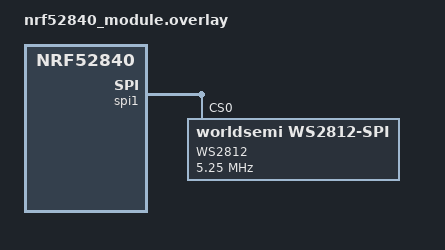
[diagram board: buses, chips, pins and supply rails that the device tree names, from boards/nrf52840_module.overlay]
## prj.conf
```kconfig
# Turn on logging, and set ZMK logging to debug output
CONFIG_LOG=y
CONFIG_ZMK_LOG_LEVEL_DBG=y

# Turn on USB CDC ACM device
CONFIG_USB=y
CONFIG_USB_DEVICE_STACK=y
CONFIG_USB_CDC_ACM=y
CONFIG_USB_CDC_ACM_RINGBUF_SIZE=1024
CONFIG_USB_CDC_ACM_DEVICE_NAME="CDC_ACM"
CONFIG_USB_CDC_ACM_DEVICE_COUNT=1

# Enable serial console
CONFIG_SERIAL=y
CONFIG_CONSOLE=y
CONFIG_UART_INTERRUPT_DRIVEN=y
CONFIG_UART_LINE_CTRL=y

# Enable USB UART, and set the console device
CONFIG_UART_CONSOLE=y
CONFIG_USB_UART_CONSOLE=y
CONFIG_UART_CONSOLE_ON_DEV_NAME="CDC_ACM_0"
CONFIG_USB_UART_DTR_WAIT=n

CONFIG_NFCT_PINS_AS_GPIOS=y
```

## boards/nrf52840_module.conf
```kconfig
CONFIG_SPI=y
CONFIG_SPI_1=y
CONFIG_ZMK_RGB_UNDERGLOW=y
# Use the STRIP config specific to the LEDs you're using
CONFIG_WS2812_STRIP=y
CONFIG_ZMK_RGB_UNDERGLOW_BRT_STEP=2

# rgb start settings
CONFIG_ZMK_RGB_UNDERGLOW_HUE_START=0
CONFIG_ZMK_RGB_UNDERGLOW_SAT_START=100
CONFIG_ZMK_RGB_UNDERGLOW_BRT_START=25
CONFIG_ZMK_RGB_UNDERGLOW_SPD_START=3
CONFIG_ZMK_RGB_UNDERGLOW_EFF_START=0
CONFIG_ZMK_RGB_UNDERGLOW_ON_START=n
```

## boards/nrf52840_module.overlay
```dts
/*
 * Copyright (c) 2018 Nordic Semiconductor ASA
 *
 * SPDX-License-Identifier: Apache-2.0
 */

&spi1 {
	led_strip: ws2812@0 {
    	compatible = "worldsemi,ws2812-spi";
    	label = "WS2812";

    	/* SPI */
    	reg = <0>;
    	spi-max-frequency = <5250000>;

    	/* WS2812 */
    	chain-length = <70>; /* number of LEDs */
    	spi-one-frame = <0x70>; /* make sure to configure this properly for your SOC */
    	spi-zero-frame = <0x40>; /* make sure to configure this properly for your SOC */
  	};
};
```

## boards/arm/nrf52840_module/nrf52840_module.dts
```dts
/*
 * Copyright (c) 2017 Linaro Limited
 *
 * SPDX-License-Identifier: Apache-2.0
 */

/dts-v1/;
#include <nordic/nrf52840_qiaa.dtsi>
#include <dt-bindings/zmk/matrix-transform.h>

/ {
	model = "nRF52840 module by crohloff";
	compatible = "crohloff,nrf52840_module";

	chosen {
		//zephyr,console = &uart0;
		//zephyr,shell-uart = &uart0;
		//zephyr,uart-mcumgr = &uart0;
		//zephyr,bt-mon-uart = &uart0;
		//zephyr,bt-c2h-uart = &uart0;
		zephyr,sram = &sram0;
		zephyr,flash = &flash0;
		zephyr,code-partition = &slot0_partition;
		zmk,underglow = &led_strip;
		zmk,kscan = &kscan0;
    zmk,matrix_transform = &default_transform;
  };

default_transform: keymap_transform_0 {
  compatible = "zmk,matrix-transform";
  columns = <16>;
  rows = <2>;
// | MX1  | MX2  | MX3  | MX4  | MX5  | MX6  | MX7  | MX8  | MX9  | MX10 | MX11 | MX12 | MX13 |    MX14     |
// |   MX15   | MX16 | MX17 | MX18 | MX19 | MX20 | MX21 | MX22 | MX23 | MX34 | MX25 | MX26 | MX27 |  MX28   |
// |    MX29    | MX30 | MX31 | MX32 | MX33 | MX34 | MX35 | MX36 | MX37 | MX38 | MX39 | MX40 |     MX41     |
// |     MX42      | MX43 | MX44 | MX45 | MX46 | MX47 | MX48 | MX49 | MX50 | MX51 | MX52 |       MX53       |
// |  MX54  |  MX55  |  MX56  |                  MX57                   |  MX58  |  MX59  |  MX60  |  MX61  |
  map = <
    RC(0,0) RC(0,1) RC(0,2) RC(0,3) RC(0,4) RC(0,5) RC(0,6) RC(0,7) RC(0,8) RC(0,9) RC(0,10) RC(0,11) RC(0,12) RC(0,13)         RC(0,14) RC(0,15)
    RC(1,0) RC(1,1) RC(1,2) RC(1,3) RC(1,4) RC(1,5) RC(1,6) RC(1,7) RC(1,8) RC(1,9) RC(1,10) RC(1,11) RC(1,12) RC(1,13)         RC(1,14) RC(1,15)
    RC(2,0) RC(2,1) RC(2,2) RC(2,3) RC(2,4) RC(2,5) RC(2,6) RC(2,7) RC(2,8) RC(2,9) RC(2,10) RC(2,11) RC(2,12)
    RC(3,0) RC(3,1) RC(3,2) RC(3,3) RC(3,4) RC(3,5) RC(3,6) RC(3,7) RC(3,8) RC(3,9) RC(3,10) RC(3,11)                           RC(3,12)
    RC(4,0) RC(4,1) RC(4,2) RC(4,3) RC(4,4) RC(4,5) RC(4,6)                                                             RC(4,7) RC(4,8) RC(4,9)
  >;
};

	kscan0: kscan {
		compatible = "zmk,kscan-gpio-matrix";
		label = "KSCAN";
    diode-direction = "row2col";

		row-gpios
			= <&gpio0 24 GPIO_ACTIVE_HIGH> //row0
			, <&gpio0 22 GPIO_ACTIVE_HIGH> //row1
			, <&gpio0 4  GPIO_PUD_PULL_UP> //row2
			, <&gpio1 10 GPIO_PUD_PULL_UP> //row3
			, <&gpio1 0  GPIO_PUD_PULL_UP> //row4
			;
		col-gpios
			= <&gpio0 10 (GPIO_ACTIVE_HIGH | GPIO_PULL_DOWN)> //col0
			, <&gpio0 9  (GPIO_ACTIVE_HIGH | GPIO_PULL_DOWN)> //col1
			, <&gpio0 8  (GPIO_ACTIVE_HIGH | GPIO_PULL_DOWN)> //col2
			, <&gpio0 12 (GPIO_ACTIVE_HIGH | GPIO_PULL_DOWN)> //col3
			, <&gpio0 13 (GPIO_ACTIVE_HIGH | GPIO_PULL_DOWN)> //col4
			, <&gpio0 15 (GPIO_ACTIVE_HIGH | GPIO_PULL_DOWN)> //col5
      , <&gpio0 26 (GPIO_ACTIVE_HIGH | GPIO_PULL_DOWN)> //col6
      , <&gpio1 6  (GPIO_ACTIVE_HIGH | GPIO_PULL_DOWN)> //col7
      , <&gpio1 4  (GPIO_ACTIVE_HIGH | GPIO_PULL_DOWN)> //col8
      , <&gpio1 2  (GPIO_ACTIVE_HIGH | GPIO_PULL_DOWN)> //col9
      , <&gpio1 15 (GPIO_ACTIVE_HIGH | GPIO_PULL_DOWN)> //col10
      , <&gpio1 9  (GPIO_ACTIVE_HIGH | GPIO_PULL_DOWN)> //col11
      , <&gpio0 29 (GPIO_ACTIVE_HIGH | GPIO_PULL_DOWN)> //col12
      , <&gpio0 31 (GPIO_ACTIVE_HIGH | GPIO_PULL_DOWN)> //col13
      , <&gpio0 6  (GPIO_ACTIVE_HIGH | GPIO_PULL_DOWN)> //col14
      , <&gpio0 20 (GPIO_ACTIVE_HIGH | GPIO_PULL_DOWN)> //col15
			;
	};
};

&adc {
	status = "okay";
};

&gpiote {
	status = "okay";
};

&gpio0 {
	status = "okay";
};

&gpio1 {
	status = "okay";
};

&uart0 {
	compatible = "nordic,nrf-uart";
	status = "okay";
	current-speed = <115200>;
	tx-pin = <11>;
	rx-pin = <14>;
	rts-pin = <16>;
	cts-pin = <17>;
};

&spi1 {
	compatible = "nordic,nrf-spi";
	status = "okay";
	sck-pin = <28>;
	mosi-pin = <45>;
	miso-pin = <30>;
};

&flash0 {
	/*
	 * For more information, see:
	 * http://docs.zephyrproject.org/latest/guides/dts/index.html#flash-partitions
	 */
	partitions {
		compatible = "fixed-partitions";
		#address-cells = <1>;
		#size-cells = <1>;

		boot_partition: partition@0 {
			label = "mcuboot";
			reg = <0x000000000 0x0000C000>;
		};
		slot0_partition: partition@c000 {
			label = "image-0";
			reg = <0x0000C000 0x000067000>;
		};
		slot1_partition: partition@73000 {
			label = "image-1";
			reg = <0x00073000 0x000067000>;
		};
		scratch_partition: partition@da000 {
			label = "image-scratch";
			reg = <0x000da000 0x0001e000>;
		};

		/*
		 * The flash starting at 0x000f8000 and ending at
		 * 0x000fffff is reserved for use by the application.
		 */

		/* Storage partition will be used by FCB/NFFS/NVS if enabled. */
		storage_partition: partition@f8000 {
			label = "storage";
			reg = <0x000f8000 0x00008000>;
		};
	};
};

&usbd {
	compatible = "nordic,nrf-usbd";
	status = "okay";
};
```

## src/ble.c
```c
/*
 * Copyright (c) 2020 The ZMK Contributors
 *
 * SPDX-License-Identifier: MIT
 */

#include <device.h>
#include <init.h>

#include <errno.h>
#include <math.h>
#include <stdlib.h>
#include <stdio.h>

#include <settings/settings.h>
#include <bluetooth/bluetooth.h>
#include <bluetooth/conn.h>
#include <bluetooth/hci.h>
#include <bluetooth/uuid.h>
#include <bluetooth/gatt.h>
#include <bluetooth/hci_err.h>

#if IS_ENABLED(CONFIG_SETTINGS)

#include <settings/settings.h>

#endif

#include <logging/log.h>

LOG_MODULE_DECLARE(zmk, CONFIG_ZMK_LOG_LEVEL);

#include <zmk/ble.h>
#include <zmk/keys.h>
#include <zmk/split/bluetooth/uuid.h>
#include <zmk/event_manager.h>
#include <zmk/events/ble_active_profile_changed.h>

static struct bt_conn *auth_passkey_entry_conn;
static uint8_t passkey_entries[6] = {0, 0, 0, 0, 0, 0};
static uint8_t passkey_digit = 0;

#if IS_ENABLED(CONFIG_ZMK_SPLIT_BLE_ROLE_CENTRAL)
#define PROFILE_COUNT (CONFIG_BT_MAX_PAIRED - 1)
#else
#define PROFILE_COUNT CONFIG_BT_MAX_PAIRED
#endif

enum advertising_type {
    ZMK_ADV_NONE,
    ZMK_ADV_DIR,
    ZMK_ADV_CONN,
} advertising_status;

#define CURR_ADV(adv) (adv << 4)

#define ZMK_ADV_CONN_NAME                                                                          \
    BT_LE_ADV_PARAM(BT_LE_ADV_OPT_CONNECTABLE | BT_LE_ADV_OPT_ONE_TIME, BT_GAP_ADV_FAST_INT_MIN_2, \
                    BT_GAP_ADV_FAST_INT_MAX_2, NULL)

static struct zmk_ble_profile profiles[PROFILE_COUNT];
static uint8_t active_profile;

#define DEVICE_NAME CONFIG_BT_DEVICE_NAME
#define DEVICE_NAME_LEN (sizeof(DEVICE_NAME) - 1)

BUILD_ASSERT(DEVICE_NAME_LEN <= 16, "ERROR: BLE device name is too long. Max length: 16");

#define IS_HOST_PERIPHERAL                                                                         \
    (!IS_ENABLED(CONFIG_ZMK_SPLIT) || IS_ENABLED(CONFIG_ZMK_SPLIT_BLE_ROLE_CENTRAL))
#define IS_SPLIT_PERIPHERAL                                                                        \
    (IS_ENABLED(CONFIG_ZMK_SPLIT) && !IS_ENABLED(CONFIG_ZMK_SPLIT_BLE_ROLE_CENTRAL))

static const struct bt_data zmk_ble_ad[] = {
#if IS_HOST_PERIPHERAL
    BT_DATA(BT_DATA_NAME_COMPLETE, DEVICE_NAME, DEVICE_NAME_LEN),
    BT_DATA_BYTES(BT_DATA_GAP_APPEARANCE, 0xC1, 0x03),
#endif
    BT_DATA_BYTES(BT_DATA_FLAGS, (BT_LE_AD_GENERAL | BT_LE_AD_NO_BREDR)),
    BT_DATA_BYTES(BT_DATA_UUID16_SOME,
#if IS_HOST_PERIPHERAL
                  0x12, 0x18, /* HID Service */
#endif
                  0x0f, 0x18 /* Battery Service */
                  ),
#if IS_SPLIT_PERIPHERAL
    BT_DATA_BYTES(BT_DATA_UUID128_ALL, ZMK_SPLIT_BT_SERVICE_UUID)
#endif
};

#if IS_ENABLED(CONFIG_ZMK_SPLIT_BLE_ROLE_CENTRAL)

static bt_addr_le_t peripheral_addr;

#endif /* IS_ENABLED(CONFIG_ZMK_SPLIT_BLE_ROLE_CENTRAL) */

static void raise_profile_changed_event() {
    ZMK_EVENT_RAISE(new_zmk_ble_active_profile_changed((struct zmk_ble_active_profile_changed){
        .index = active_profile, .profile = &profiles[active_profile]}));
}

static void raise_profile_changed_event_callback(struct k_work *work) {
    raise_profile_changed_event();
}

K_WORK_DEFINE(raise_profile_changed_event_work, raise_profile_changed_event_callback);

bool zmk_ble_active_profile_is_open() {
    return !bt_addr_le_cmp(&profiles[active_profile].peer, BT_ADDR_LE_ANY);
}

void set_profile_address(uint8_t index, const bt_addr_le_t *addr) {
    char setting_name[15];
    char addr_str[BT_ADDR_LE_STR_LEN];

    bt_addr_le_to_str(addr, addr_str, sizeof(addr_str));

    memcpy(&profiles[index].peer, addr, sizeof(bt_addr_le_t));
    sprintf(setting_name, "ble/profiles/%d", index);
    LOG_DBG("Setting profile addr for %s to %s", log_strdup(setting_name), log_strdup(addr_str));
    settings_save_one(setting_name, &profiles[index], sizeof(struct zmk_ble_profile));
    k_work_submit(&raise_profile_changed_event_work);
}

bool zmk_ble_active_profile_is_connected() {
    struct bt_conn *conn;
    bt_addr_le_t *addr = zmk_ble_active_profile_addr();
    if (!bt_addr_le_cmp(addr, BT_ADDR_LE_ANY)) {
        return false;
    } else if ((conn = bt_conn_lookup_addr_le(BT_ID_DEFAULT, addr)) == NULL) {
        return false;
    }

    bt_conn_unref(conn);

    return true;
}

#define CHECKED_ADV_STOP()                                                                         \
    err = bt_le_adv_stop();                                                                        \
    advertising_status = ZMK_ADV_NONE;                                                             \
    if (err) {                                                                                     \
        LOG_ERR("Failed to stop advertising (err %d)", err);                                       \
        return err;                                                                                \
    }

#define CHECKED_DIR_ADV()                                                                          \
    addr = zmk_ble_active_profile_addr();                                                          \
    conn = bt_conn_lookup_addr_le(BT_ID_DEFAULT, addr);                                            \
    if (conn != NULL) { /* TODO: Check status of connection */                                     \
        LOG_DBG("Skipping advertising, profile host is already connected");                        \
        bt_conn_unref(conn);                                                                       \
        return 0;                                                                                  \
    }                                                                                              \
    err = bt_le_adv_start(BT_LE_ADV_CONN_DIR_LOW_DUTY(addr), zmk_ble_ad, ARRAY_SIZE(zmk_ble_ad),   \
                          NULL, 0);                                                                \
    if (err) {                                                                                     \
        LOG_ERR("Advertising failed to start (err %d)", err);                                      \
        return err;                                                                                \
    }                                                                                              \
    advertising_status = ZMK_ADV_DIR;

#define CHECKED_OPEN_ADV()                                                                         \
    err = bt_le_adv_start(ZMK_ADV_CONN_NAME, zmk_ble_ad, ARRAY_SIZE(zmk_ble_ad), NULL, 0);         \
    if (err) {                                                                                     \
        LOG_ERR("Advertising failed to start (err %d)", err);                                      \
        return err;                                                                                \
    }                                                                                              \
    advertising_status = ZMK_ADV_CONN;

int update_advertising() {
    int err = 0;
    bt_addr_le_t *addr;
    struct bt_conn *conn;
    enum advertising_type desired_adv = ZMK_ADV_NONE;

    if (zmk_ble_active_profile_is_open()) {
        desired_adv = ZMK_ADV_CONN;
    } else if (!zmk_ble_active_profile_is_connected()) {
        desired_adv = ZMK_ADV_CONN;
        // Need to fix directed advertising for privacy centrals. See
        // https://github.com/zephyrproject-rtos/zephyr/pull/14984 char
        // addr_str[BT_ADDR_LE_STR_LEN]; bt_addr_le_to_str(zmk_ble_active_profile_addr(), addr_str,
        // sizeof(addr_str));

        // LOG_DBG("Directed advertising to %s", log_strdup(addr_str));
        // desired_adv = ZMK_ADV_DIR;
    }
    LOG_DBG("advertising from %d to %d", advertising_status, desired_adv);

    switch (desired_adv + CURR_ADV(advertising_status)) {
    case ZMK_ADV_NONE + CURR_ADV(ZMK_ADV_DIR):
    case ZMK_ADV_NONE + CURR_ADV(ZMK_ADV_CONN):
        CHECKED_ADV_STOP();
        break;
    case ZMK_ADV_DIR + CURR_ADV(ZMK_ADV_DIR):
    case ZMK_ADV_DIR + CURR_ADV(ZMK_ADV_CONN):
        CHECKED_ADV_STOP();
        CHECKED_DIR_ADV();
        break;
    case ZMK_ADV_DIR + CURR_ADV(ZMK_ADV_NONE):
        CHECKED_DIR_ADV();
        break;
    case ZMK_ADV_CONN + CURR_ADV(ZMK_ADV_DIR):
        CHECKED_ADV_STOP();
        CHECKED_OPEN_ADV();
        break;
    case ZMK_ADV_CONN + CURR_ADV(ZMK_ADV_NONE):
        CHECKED_OPEN_ADV();
        break;
    }

    return 0;
};

static void update_advertising_callback(struct k_work *work) { update_advertising(); }

K_WORK_DEFINE(update_advertising_work, update_advertising_callback);

int zmk_ble_clear_bonds() {
    LOG_DBG("");

    if (bt_addr_le_cmp(&profiles[active_profile].peer, BT_ADDR_LE_ANY)) {
        LOG_DBG("Unpairing!");
        bt_unpair(BT_ID_DEFAULT, &profiles[active_profile].peer);
        set_profile_address(active_profile, BT_ADDR_LE_ANY);
    }

    update_advertising();

    return 0;
};

int zmk_ble_active_profile_index() { return active_profile; }

#if IS_ENABLED(CONFIG_SETTINGS)
static void ble_save_profile_work(struct k_work *work) {
    settings_save_one("ble/active_profile", &active_profile, sizeof(active_profile));
}

static struct k_delayed_work ble_save_work;
#endif

static int ble_save_profile() {
#if IS_ENABLED(CONFIG_SETTINGS)
    k_delayed_work_cancel(&ble_save_work);
    return k_delayed_work_submit(&ble_save_work, K_MSEC(CONFIG_ZMK_SETTINGS_SAVE_DEBOUNCE));
#else
    return 0;
#endif
}

int zmk_ble_prof_select(uint8_t index) {
    if (index >= PROFILE_COUNT) {
        return -ERANGE;
    }

    LOG_DBG("profile %d", index);
    if (active_profile == index) {
        return 0;
    }

    active_profile = index;
    ble_save_profile();

    update_advertising();

    raise_profile_changed_event();

    return 0;
};

int zmk_ble_prof_next() {
    LOG_DBG("");
    return zmk_ble_prof_select((active_profile + 1) % PROFILE_COUNT);
};

int zmk_ble_prof_prev() {
    LOG_DBG("");
    return zmk_ble_prof_select((active_profile + PROFILE_COUNT - 1) % PROFILE_COUNT);
};

bt_addr_le_t *zmk_ble_active_profile_addr() { return &profiles[active_profile].peer; }

char *zmk_ble_active_profile_name() { return profiles[active_profile].name; }

#if IS_ENABLED(CONFIG_ZMK_SPLIT_BLE_ROLE_CENTRAL)

void zmk_ble_set_peripheral_addr(bt_addr_le_t *addr) {
    memcpy(&peripheral_addr, addr, sizeof(bt_addr_le_t));
    settings_save_one("ble/peripheral_address", addr, sizeof(bt_addr_le_t));
}

#endif /* IS_ENABLED(CONFIG_ZMK_SPLIT_BLE_ROLE_CENTRAL) */

#if IS_ENABLED(CONFIG_SETTINGS)

static int ble_profiles_handle_set(const char *name, size_t len, settings_read_cb read_cb,
                                   void *cb_arg) {
    const char *next;

    LOG_DBG("Setting BLE value %s", log_strdup(name));

    if (settings_name_steq(name, "profiles", &next) && next) {
        char *endptr;
        uint8_t idx = strtoul(next, &endptr, 10);
        if (*endptr != '\0') {
            LOG_WRN("Invalid profile index: %s", log_strdup(next));
            return -EINVAL;
        }

        if (len != sizeof(struct zmk_ble_profile)) {
            LOG_ERR("Invalid profile size (got %d expected %d)", len,
                    sizeof(struct zmk_ble_profile));
            return -EINVAL;
        }

        if (idx >= PROFILE_COUNT) {
            LOG_WRN("Profile address for index %d is larger than max of %d", idx, PROFILE_COUNT);
            return -EINVAL;
        }

        int err = read_cb(cb_arg, &profiles[idx], sizeof(struct zmk_ble_profile));
        if (err <= 0) {
            LOG_ERR("Failed to handle profile address from settings (err %d)", err);
            return err;
        }

        char addr_str[BT_ADDR_LE_STR_LEN];
        bt_addr_le_to_str(&profiles[idx].peer, addr_str, sizeof(addr_str));

        LOG_DBG("Loaded %s address for profile %d", log_strdup(addr_str), idx);
    } else if (settings_name_steq(name, "active_profile", &next) && !next) {
        if (len != sizeof(active_profile)) {
            return -EINVAL;
        }

        int err = read_cb(cb_arg, &active_profile, sizeof(active_profile));
        if (err <= 0) {
            LOG_ERR("Failed to handle active profile from settings (err %d)", err);
            return err;
        }
    }
#if IS_ENABLED(CONFIG_ZMK_SPLIT_BLE_ROLE_CENTRAL)
    else if (settings_name_steq(name, "peripheral_address", &next) && !next) {
        if (len != sizeof(bt_addr_le_t)) {
            return -EINVAL;
        }

        int err = read_cb(cb_arg, &peripheral_addr, sizeof(bt_addr_le_t));
        if (err <= 0) {
            LOG_ERR("Failed to handle peripheral address from settings (err %d)", err);
            return err;
        }
    }
#endif

    return 0;
};

struct settings_handler profiles_handler = {.name = "ble", .h_set = ble_profiles_handle_set};
#endif /* IS_ENABLED(CONFIG_SETTINGS) */

static bool is_conn_active_profile(const struct bt_conn *conn) {
    return bt_addr_le_cmp(bt_conn_get_dst(conn), &profiles[active_profile].peer) == 0;
}

static void connected(struct bt_conn *conn, uint8_t err) {
    char addr[BT_ADDR_LE_STR_LEN];
    bt_addr_le_to_str(bt_conn_get_dst(conn), addr, sizeof(addr));
    LOG_DBG("Connected thread: %p", k_current_get());

    advertising_status = ZMK_ADV_NONE;

    if (err) {
        LOG_WRN("Failed to connect to %s (%u)", log_strdup(addr), err);
        update_advertising();
        return;
    }

    LOG_DBG("Connected %s", log_strdup(addr));

    err = bt_conn_le_param_update(conn, BT_LE_CONN_PARAM(0x0006, 0x000c, 30, 400));
    if (err) {
        LOG_WRN("Failed to update LE parameters (err %d)", err);
    }

#if IS_SPLIT_PERIPHERAL
    bt_conn_le_phy_update(conn, BT_CONN_LE_PHY_PARAM_2M);
#endif

    if (bt_conn_set_security(conn, BT_SECURITY_L2)) {
        LOG_ERR("Failed to set security");
    }

    update_advertising();

    if (is_conn_active_profile(conn)) {
        LOG_DBG("Active profile connected");
        k_work_submit(&raise_profile_changed_event_work);
    }
}

static void disconnected(struct bt_conn *conn, uint8_t reason) {
    char addr[BT_ADDR_LE_STR_LEN];

    bt_addr_le_to_str(bt_conn_get_dst(conn), addr, sizeof(addr));

    LOG_DBG("Disconnected from %s (reason 0x%02x)", log_strdup(addr), reason);

    // We need to do this in a work callback, otherwise the advertising update will still see the
    // connection for a profile as active, and not start advertising yet.
    k_work_submit(&update_advertising_work);

    if (is_conn_active_profile(conn)) {
        LOG_DBG("Active profile disconnected");
        k_work_submit(&raise_profile_changed_event_work);
    }
}

static void security_changed(struct bt_conn *conn, bt_security_t level, enum bt_security_err err) {
    char addr[BT_ADDR_LE_STR_LEN];

    bt_addr_le_to_str(bt_conn_get_dst(conn), addr, sizeof(addr));

    if (!err) {
        LOG_DBG("Security changed: %s level %u", log_strdup(addr), level);
    } else {
        LOG_ERR("Security failed: %s level %u err %d", log_strdup(addr), level, err);
    }
}

static void le_param_updated(struct bt_conn *conn, uint16_t interval, uint16_t latency,
                             uint16_t timeout) {
    char addr[BT_ADDR_LE_STR_LEN];

    bt_addr_le_to_str(bt_conn_get_dst(conn), addr, sizeof(addr));

    LOG_DBG("%s: interval %d latency %d timeout %d", log_strdup(addr), interval, latency, timeout);
}

static struct bt_conn_cb conn_callbacks = {
    .connected = connected,
    .disconnected = disconnected,
    .security_changed = security_changed,
    .le_param_updated = le_param_updated,
};

/*
static void auth_passkey_display(struct bt_conn *conn, unsigned int passkey) {
    char addr[BT_ADDR_LE_STR_LEN];

    bt_addr_le_to_str(bt_conn_get_dst(conn), addr, sizeof(addr));

    LOG_DBG("Passkey for %s: %06u", log_strdup(addr), passkey);
}
*/

#ifdef CONFIG_ZMK_BLE_PASSKEY_ENTRY

static void auth_passkey_entry(struct bt_conn *conn) {
    char addr[BT_ADDR_LE_STR_LEN];

    bt_addr_le_to_str(bt_conn_get_dst(conn), addr, sizeof(addr));

    LOG_DBG("Passkey entry requested for %s", log_strdup(addr));
    auth_passkey_entry_conn = bt_conn_ref(conn);
}

#endif

static void auth_cancel(struct bt_conn *conn) {
    char addr[BT_ADDR_LE_STR_LEN];

    bt_addr_le_to_str(bt_conn_get_dst(conn), addr, sizeof(addr));

    if (auth_passkey_entry_conn) {
        bt_conn_unref(auth_passkey_entry_conn);
        auth_passkey_entry_conn = NULL;
    }

    passkey_digit = 0;

    LOG_DBG("Pairing cancelled: %s", log_strdup(addr));
}

#if IS_HOST_PERIPHERAL
static enum bt_security_err auth_pairing_accept(struct bt_conn *conn,
                                                const struct bt_conn_pairing_feat *const feat) {
    struct bt_conn_info info;
    bt_conn_get_info(conn, &info);

    LOG_DBG("role %d, open? %s", info.role, zmk_ble_active_profile_is_open() ? "yes" : "no");
    if (info.role == BT_CONN_ROLE_SLAVE && !zmk_ble_active_profile_is_open()) {
        LOG_WRN("Rejecting pairing request to taken profile %d", active_profile);
        return BT_SECURITY_ERR_PAIR_NOT_ALLOWED;
    }

    return BT_SECURITY_ERR_SUCCESS;
};
#endif /* IS_HOST_PERIPHERAL */

static void auth_pairing_complete(struct bt_conn *conn, bool bonded) {
    struct bt_conn_info info;
    char addr[BT_ADDR_LE_STR_LEN];
    const bt_addr_le_t *dst = bt_conn_get_dst(conn);

    bt_addr_le_to_str(dst, addr, sizeof(addr));
    bt_conn_get_info(conn, &info);

    if (info.role != BT_CONN_ROLE_SLAVE) {
        LOG_DBG("SKIPPING FOR ROLE %d", info.role);
        return;
    }

#if IS_HOST_PERIPHERAL
    if (!zmk_ble_active_profile_is_open()) {
        LOG_ERR("Pairing completed but current profile is not open: %s", log_strdup(addr));
        bt_unpair(BT_ID_DEFAULT, dst);
        return;
    }
#endif /* IS_HOST_PERIPHERAL */

    set_profile_address(active_profile, dst);
    update_advertising();
};

static struct bt_conn_auth_cb zmk_ble_auth_cb_display = {
#if IS_HOST_PERIPHERAL
    .pairing_accept = auth_pairing_accept,
#endif /* IS_HOST_PERIPHERAL */
    .pairing_complete = auth_pairing_complete,
//   .passkey_display = auth_passkey_display,

#ifdef CONFIG_ZMK_BLE_PASSKEY_ENTRY
    .passkey_entry = auth_passkey_entry,
#endif
    .cancel = auth_cancel,
};

static void zmk_ble_ready(int err) {
    LOG_DBG("ready? %d", err);
    if (err) {
        LOG_ERR("Bluetooth init failed (err %d)", err);
        return;
    }

    update_advertising();
}

static int zmk_ble_init(const struct device *_arg) {
    int err = bt_enable(NULL);

    if (err) {
        LOG_ERR("BLUETOOTH FAILED (%d)", err);
        return err;
    }

#if IS_ENABLED(CONFIG_SETTINGS)
    settings_subsys_init();

    err = settings_register(&profiles_handler);
    if (err) {
        LOG_ERR("Failed to setup the profile settings handler (err %d)", err);
        return err;
    }

    k_delayed_work_init(&ble_save_work, ble_save_profile_work);

    settings_load_subtree("ble");
    settings_load_subtree("bt");

#endif

#if IS_ENABLED(CONFIG_ZMK_BLE_CLEAR_BONDS_ON_START)
    LOG_WRN("Clearing all existing BLE bond information from the keyboard");

    for (int i = 0; i < 10; i++) {
        bt_unpair(i, NULL);
    }

    for (int i = 0; i < PROFILE_COUNT; i++) {
        char setting_name[15];
        sprintf(setting_name, "ble/profiles/%d", i);

        err = settings_delete(setting_name);
        if (err) {
            LOG_ERR("Failed to delete setting: %d", err);
        }
    }
#endif

    bt_conn_cb_register(&conn_callbacks);
    bt_conn_auth_cb_register(&zmk_ble_auth_cb_display);

    zmk_ble_ready(0);

    return 0;
}

int zmk_ble_unpair_all() {
    int resp = 0;
    for (int i = BT_ID_DEFAULT; i < CONFIG_BT_ID_MAX; i++) {

        int err = bt_unpair(BT_ID_DEFAULT, NULL);
        if (err) {
            resp = err;
            LOG_ERR("Failed to unpair devices (err %d)", err);
        }
    }

    return resp;
};

bool zmk_ble_handle_key_user(struct zmk_key_event *key_event) {
    zmk_key_t key = key_event->key;

    if (!auth_passkey_entry_conn) {
        return true;
    }

    if (key < NUMBER_1 || key > NUMBER_0) {
        return true;
    }

    uint32_t val = (key == NUMBER_0) ? 0 : (key - NUMBER_1 + 1);

    passkey_entries[passkey_digit++] = val;

    if (passkey_digit == 6) {
        uint32_t passkey = 0;
        for (int i = 5; i >= 0; i--) {
            passkey = (passkey * 10) + val;
        }
        bt_conn_auth_passkey_entry(auth_passkey_entry_conn, passkey);
        bt_conn_unref(auth_passkey_entry_conn);
        auth_passkey_entry_conn = NULL;
    }

    return false;
}

int zmk_ble_start_advertisement(void) {
    int err = 0;
    CHECKED_OPEN_ADV();
    return err;
}

int zmk_ble_stop_advertisement(void) {
    int err = 0;
    CHECKED_ADV_STOP();
    return err;
}

SYS_INIT(zmk_ble_init, APPLICATION, CONFIG_ZMK_BLE_INIT_PRIORITY);
```

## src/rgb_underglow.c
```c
/*
 * Copyright (c) 2020 The ZMK Contributors
 *
 * SPDX-License-Identifier: MIT
 */

#include <device.h>
#include <init.h>
#include <kernel.h>
#include <settings/settings.h>

#include <math.h>
#include <stdlib.h>

#include <logging/log.h>

#include <drivers/led_strip.h>
#include <drivers/ext_power.h>

#include <zmk/rgb_underglow.h>

LOG_MODULE_DECLARE(zmk, CONFIG_ZMK_LOG_LEVEL);

#define STRIP_LABEL DT_LABEL(DT_CHOSEN(zmk_underglow))
#define STRIP_NUM_PIXELS DT_PROP(DT_CHOSEN(zmk_underglow), chain_length)

#define HUE_MAX 360
#define SAT_MAX 100
#define BRT_MAX 100

enum rgb_underglow_effect {
    UNDERGLOW_EFFECT_SOLID,
    UNDERGLOW_EFFECT_BREATHE,
    UNDERGLOW_EFFECT_SPECTRUM,
    UNDERGLOW_EFFECT_SWIRL,
    UNDERGLOW_EFFECT_NUMBER // Used to track number of underglow effects
};

struct rgb_underglow_state {
    struct zmk_led_hsb color;
    uint8_t animation_speed;
    uint8_t current_effect;
    uint16_t animation_step;
    bool on;
};

static const struct device *led_strip;

static struct led_rgb pixels[STRIP_NUM_PIXELS];

static struct rgb_underglow_state state;

#if IS_ENABLED(CONFIG_ZMK_RGB_UNDERGLOW_EXT_POWER)
static const struct device *ext_power;
#endif

static struct led_rgb hsb_to_rgb(struct zmk_led_hsb hsb) {
    double r, g, b;

    uint8_t i = hsb.h / 60;
    double v = hsb.b / ((float)BRT_MAX);
    double s = hsb.s / ((float)SAT_MAX);
    double f = hsb.h / ((float)HUE_MAX) * 6 - i;
    double p = v * (1 - s);
    double q = v * (1 - f * s);
    double t = v * (1 - (1 - f) * s);

    switch (i % 6) {
    case 0:
        r = v;
        g = t;
        b = p;
        break;
    case 1:
        r = q;
        g = v;
        b = p;
        break;
    case 2:
        r = p;
        g = v;
        b = t;
        break;
    case 3:
        r = p;
        g = q;
        b = v;
        break;
    case 4:
        r = t;
        g = p;
        b = v;
        break;
    case 5:
        r = v;
        g = p;
        b = q;
        break;
    }

    struct led_rgb rgb = {r : r * 255, g : g * 255, b : b * 255};

    return rgb;
}

static void zmk_rgb_underglow_effect_solid() {
    for (int i = 0; i < STRIP_NUM_PIXELS; i++) {
        pixels[i] = hsb_to_rgb(state.color);
    }
}

static void zmk_rgb_underglow_effect_breathe() {
    for (int i = 0; i < STRIP_NUM_PIXELS; i++) {
        struct zmk_led_hsb hsb = state.color;
        hsb.b = abs(state.animation_step - 1200) / 12;

        pixels[i] = hsb_to_rgb(hsb);
    }

    state.animation_step += state.animation_speed * 10;

    if (state.animation_step > 2400) {
        state.animation_step = 0;
    }
}

static void zmk_rgb_underglow_effect_spectrum() {
    for (int i = 0; i < STRIP_NUM_PIXELS; i++) {
        struct zmk_led_hsb hsb = state.color;
        hsb.h = state.animation_step;

        pixels[i] = hsb_to_rgb(hsb);
    }

    state.animation_step += state.animation_speed;
    state.animation_step = state.animation_step % HUE_MAX;
}

static void zmk_rgb_underglow_effect_swirl() {
    for (int i = 0; i < STRIP_NUM_PIXELS; i++) {
        struct zmk_led_hsb hsb = state.color;
        hsb.h = (HUE_MAX / STRIP_NUM_PIXELS * i + state.animation_step) % HUE_MAX;

        pixels[i] = hsb_to_rgb(hsb);
    }

    state.animation_step += state.animation_speed * 2;
    state.animation_step = state.animation_step % HUE_MAX;
}

static void zmk_rgb_underglow_tick(struct k_work *work) {
    switch (state.current_effect) {
    case UNDERGLOW_EFFECT_SOLID:
        zmk_rgb_underglow_effect_solid();
        break;
    case UNDERGLOW_EFFECT_BREATHE:
        zmk_rgb_underglow_effect_breathe();
        break;
    case UNDERGLOW_EFFECT_SPECTRUM:
        zmk_rgb_underglow_effect_spectrum();
        break;
    case UNDERGLOW_EFFECT_SWIRL:
        zmk_rgb_underglow_effect_swirl();
        break;
    }
    led_strip_update_rgb(led_strip, pixels, STRIP_NUM_PIXELS);
}

K_WORK_DEFINE(underglow_work, zmk_rgb_underglow_tick);

static void zmk_rgb_underglow_tick_handler(struct k_timer *timer) {
    if (!state.on) {
        return;
    }

    k_work_submit(&underglow_work);
}

K_TIMER_DEFINE(underglow_tick, zmk_rgb_underglow_tick_handler, NULL);

#if IS_ENABLED(CONFIG_SETTINGS)
static int rgb_settings_set(const char *name, size_t len, settings_read_cb read_cb, void *cb_arg) {
    const char *next;
    int rc;

    if (settings_name_steq(name, "state", &next) && !next) {
        if (len != sizeof(state)) {
            return -EINVAL;
        }

        rc = read_cb(cb_arg, &state, sizeof(state));
        if (rc >= 0) {
            return 0;
        }

        return rc;
    }

    return -ENOENT;
}

struct settings_handler rgb_conf = {.name = "rgb/underglow", .h_set = rgb_settings_set};

static void zmk_rgb_underglow_save_state_work() {
    settings_save_one("rgb/underglow/state", &state, sizeof(state));
}

static struct k_delayed_work underglow_save_work;
#endif

static int zmk_rgb_underglow_init(const struct device *_arg) {
    led_strip = device_get_binding(STRIP_LABEL);
    if (led_strip) {
        LOG_INF("Found LED strip device %s", STRIP_LABEL);
    } else {
        LOG_ERR("LED strip device %s not found", STRIP_LABEL);
        return -EINVAL;
    }

#if IS_ENABLED(CONFIG_ZMK_RGB_UNDERGLOW_EXT_POWER)
    ext_power = device_get_binding("EXT_POWER");
    if (ext_power == NULL) {
        LOG_ERR("Unable to retrieve ext_power device: EXT_POWER");
    }
#endif

    state = (struct rgb_underglow_state){
        color : {
            h : CONFIG_ZMK_RGB_UNDERGLOW_HUE_START,
            s : CONFIG_ZMK_RGB_UNDERGLOW_SAT_START,
            b : CONFIG_ZMK_RGB_UNDERGLOW_BRT_START,
        },
        animation_speed : CONFIG_ZMK_RGB_UNDERGLOW_SPD_START,
        current_effect : CONFIG_ZMK_RGB_UNDERGLOW_EFF_START,
        animation_step : 0,
        on : IS_ENABLED(CONFIG_ZMK_RGB_UNDERGLOW_ON_START)
    };

#if IS_ENABLED(CONFIG_SETTINGS)
    settings_subsys_init();

    int err = settings_register(&rgb_conf);
    if (err) {
        LOG_ERR("Failed to register the ext_power settings handler (err %d)", err);
        return err;
    }

    k_delayed_work_init(&underglow_save_work, zmk_rgb_underglow_save_state_work);

    settings_load_subtree("rgb/underglow");
#endif

    k_timer_start(&underglow_tick, K_NO_WAIT, K_MSEC(50));

    return 0;
}

int zmk_rgb_underglow_save_state() {
#if IS_ENABLED(CONFIG_SETTINGS)
    k_delayed_work_cancel(&underglow_save_work);
    return k_delayed_work_submit(&underglow_save_work, K_MSEC(CONFIG_ZMK_SETTINGS_SAVE_DEBOUNCE));
#else
    return 0;
#endif
}

int zmk_rgb_underglow_get_state(bool *on_off) {
    if (!led_strip)
        return -ENODEV;

    *on_off = state.on;
    return 0;
}

int zmk_rgb_underglow_on() {
    if (!led_strip)
        return -ENODEV;

#if IS_ENABLED(CONFIG_ZMK_RGB_UNDERGLOW_EXT_POWER)
    if (ext_power != NULL) {
        int rc = ext_power_enable(ext_power);
        if (rc != 0) {
            LOG_ERR("Unable to enable EXT_POWER: %d", rc);
        }
    }
#endif

    state.on = true;
    state.animation_step = 0;
    k_timer_start(&underglow_tick, K_NO_WAIT, K_MSEC(50));

    return zmk_rgb_underglow_save_state();
}

int zmk_rgb_underglow_off() {
    if (!led_strip)
        return -ENODEV;

#if IS_ENABLED(CONFIG_ZMK_RGB_UNDERGLOW_EXT_POWER)
    if (ext_power != NULL) {
        int rc = ext_power_disable(ext_power);
        if (rc != 0) {
            LOG_ERR("Unable to disable EXT_POWER: %d", rc);
        }
    }
#endif

    for (int i = 0; i < STRIP_NUM_PIXELS; i++) {
        pixels[i] = (struct led_rgb){r : 0, g : 0, b : 0};
    }

    led_strip_update_rgb(led_strip, pixels, STRIP_NUM_PIXELS);

    k_timer_stop(&underglow_tick);
    state.on = false;

    return zmk_rgb_underglow_save_state();
}

int zmk_rgb_underglow_cycle_effect(int direction) {
    if (!led_strip)
        return -ENODEV;

    state.current_effect += UNDERGLOW_EFFECT_NUMBER + direction;
    state.current_effect %= UNDERGLOW_EFFECT_NUMBER;

    state.animation_step = 0;

    return zmk_rgb_underglow_save_state();
}

int zmk_rgb_underglow_toggle() {
    return state.on ? zmk_rgb_underglow_off() : zmk_rgb_underglow_on();
}

int zmk_rgb_underglow_set_hsb(struct zmk_led_hsb color) {
    if (color.h > HUE_MAX || color.s > SAT_MAX || color.b > BRT_MAX) {
        return -ENOTSUP;
    }

    state.color = color;

    return 0;
}

struct zmk_led_hsb zmk_rgb_underglow_calc_hue(int direction) {
    struct zmk_led_hsb color = state.color;

    color.h += HUE_MAX + (direction * CONFIG_ZMK_RGB_UNDERGLOW_HUE_STEP);
    color.h %= HUE_MAX;

    return color;
}

struct zmk_led_hsb zmk_rgb_underglow_calc_sat(int direction) {
    struct zmk_led_hsb color = state.color;

    int s = color.s + (direction * CONFIG_ZMK_RGB_UNDERGLOW_SAT_STEP);
    if (s < 0) {
        s = 0;
    } else if (s > SAT_MAX) {
        s = SAT_MAX;
    }
    color.s = s;

    return color;
}

struct zmk_led_hsb zmk_rgb_underglow_calc_brt(int direction) {
    struct zmk_led_hsb color = state.color;

    int b = color.b + (direction * CONFIG_ZMK_RGB_UNDERGLOW_BRT_STEP);
    if (b < 0) {
        b = 0;
    } else if (b > BRT_MAX) {
        b = BRT_MAX;
    }
    color.b = b;

    return color;
}

int zmk_rgb_underglow_change_hue(int direction) {
    if (!led_strip)
        return -ENODEV;

    state.color = zmk_rgb_underglow_calc_hue(direction);

    return zmk_rgb_underglow_save_state();
}

int zmk_rgb_underglow_change_sat(int direction) {
    if (!led_strip)
        return -ENODEV;

    state.color = zmk_rgb_underglow_calc_sat(direction);

    return zmk_rgb_underglow_save_state();
}

int zmk_rgb_underglow_change_brt(int direction) {
    if (!led_strip)
        return -ENODEV;

    state.color = zmk_rgb_underglow_calc_brt(direction);

    return zmk_rgb_underglow_save_state();
}

int zmk_rgb_underglow_change_spd(int direction) {
    if (!led_strip)
        return -ENODEV;

    if (state.animation_speed == 1 && direction < 0) {
        return 0;
    }

    state.animation_speed += direction;

    if (state.animation_speed > 5) {
        state.animation_speed = 5;
    }

    return zmk_rgb_underglow_save_state();
}

int zmk_rgb_underglow_effect_single_led(int hue, int sat, int brt, int led) {
    if (!led_strip) {
        return -ENODEV;
    }

    struct led_hsb hsb = {hue, sat, brt};

    pixels[led] = hsb_to_rgb(hsb);
    led_strip_update_rgb(led_strip, pixels, STRIP_NUM_PIXELS);

    return 0;
}

SYS_INIT(zmk_rgb_underglow_init, APPLICATION, CONFIG_APPLICATION_INIT_PRIORITY);
```
